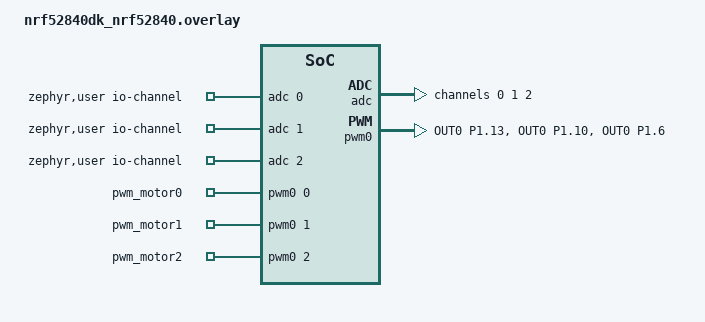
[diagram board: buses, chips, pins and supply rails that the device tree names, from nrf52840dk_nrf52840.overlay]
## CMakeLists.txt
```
cmake_minimum_required(VERSION 3.20.0)
find_package(Zephyr REQUIRED HINTS $ENV{ZEPHYR_BASE})

project(nrf)

target_sources(app PRIVATE 
        src/main.c
        src/motor.c
        src/motor.h
        src/sensor.c
        src/sensor.h
        src/adc.c
        src/adc.h
        src/PID.c
        src/PID.h
        )
```

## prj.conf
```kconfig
# GPIO
CONFIG_GPIO_NRFX=y  # Enable GPIO driver for Nordic platforms (if using an nRF SoC)

# PWM
CONFIG_PWM=y

# ADC
CONFIG_ADC=y
```

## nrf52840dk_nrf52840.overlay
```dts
// To get started, press Ctrl+Space to bring up the completion menu and view the available nodes.

// You can also use the buttons in the sidebar to perform actions on nodes.
// Actions currently available include:

// * Enabling / disabling the node
// * Adding the bus to a bus
// * Removing the node
// * Connecting ADC channels

// For more help, browse the DeviceTree documentation at https://docs.zephyrproject.org/latest/guides/dts/index.html
// You can also visit the nRF DeviceTree extension documentation at https://docs.nordicsemi.com/bundle/nrf-connect-vscode/page/guides/ncs_configure_app.html#devicetree-support-in-the-extension

/{

    zephyr,user {
        io-channels = <&adc 0>, <&adc 1>, <&adc 2>; 
    };

    aliases {
        pwm-motor0 = &pwm_motor0;
        pwm-motor1 = &pwm_motor1;
        pwm-motor2 = &pwm_motor2;

    };

    pwmmotors {
        compatible = "pwm-leds";
        pwm_motor0: pwm_motor_0 {
            pwms = <&pwm0 0 PWM_NSEC(10000) PWM_POLARITY_NORMAL>;
        };
        pwm_motor1: pwm_motor_1 {
            pwms = <&pwm0 1 PWM_NSEC(10000) PWM_POLARITY_NORMAL>;
        };

        pwm_motor2: pwm_motor_2 {
            pwms = <&pwm0 2 PWM_NSEC(10000) PWM_POLARITY_NORMAL>;
        };
    };
};

&adc {
    #address-cells = <1>;
    #size-cells = <0>;
    status = "okay";

    channel@0 {
        reg = <0>;
        zephyr,gain = "ADC_GAIN_1_2";
        zephyr,reference = "ADC_REF_INTERNAL";
        zephyr,acquisition-time = <ADC_ACQ_TIME_DEFAULT>;
        zephyr,input-positive = <NRF_SAADC_AIN0>; /* P0.02 */
        zephyr,resolution = <12>;
        zephyr,oversampling = <0>;
    };

    channel@1 {
        reg = <1>;
        zephyr,gain = "ADC_GAIN_1_2";
        zephyr,reference = "ADC_REF_INTERNAL";
        zephyr,acquisition-time = <ADC_ACQ_TIME_DEFAULT>;
        zephyr,input-positive = <NRF_SAADC_AIN1>; /* P0.03 */
        zephyr,resolution = <12>;
        zephyr,oversampling = <0>;
    };

    channel@2 {
        reg = <2>;
        zephyr,gain = "ADC_GAIN_1_2";
        zephyr,reference = "ADC_REF_INTERNAL";
        zephyr,acquisition-time = <ADC_ACQ_TIME_DEFAULT>;
        zephyr,input-positive = <NRF_SAADC_AIN2>; /* P0.28 */
        zephyr,resolution = <12>;
        zephyr,oversampling = <0>;
    };

};

/* STEP 1.3 - Add your own custom pwm0 instance */
&pwm0 {
    status = "okay";
    pinctrl-0 = <&pwm0_custom>;
    pinctrl-1 = <&pwm0_csleep>;
    pinctrl-names = "default", "sleep";
};

/* STEP 1.4 - Configure which pins your custom pwm0 instance should use */
&pinctrl {
    pwm0_custom: pwm0_custom {
        group1 {
            psels = <NRF_PSEL(PWM_OUT0, 1, 13)>,
                    <NRF_PSEL(PWM_OUT0, 1, 10)>,
                    <NRF_PSEL(PWM_OUT0, 1, 6)>;
        };
    };

    pwm0_csleep: pwm0_csleep {
        group1 {
            psels = <NRF_PSEL(PWM_OUT0, 1, 13)>,
                    <NRF_PSEL(PWM_OUT0, 1, 10)>,
                    <NRF_PSEL(PWM_OUT0, 1, 6)>;
            low-power-enable;
        };
    };
};
```

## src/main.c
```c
#include <zephyr/kernel.h>
#include <zephyr/device.h>
#include <zephyr/drivers/gpio.h>
#include <zephyr/drivers/pwm.h>
#include <zephyr/devicetree.h>

#include "motor.h"
#include "adc.h"

#define GPIO0_PORT DT_NODELABEL(gpio0)
#define GPIO1_PORT DT_NODELABEL(gpio1)

LOG_MODULE_REGISTER(Main, LOG_LEVEL_INF);

// struct pwm_dt_spec pwm_dt; 

const struct device *gpio0_dt; 
const struct device *gpio1_dt; 




int main(void)
{
        int err = 0; 

        //flags 
        extern bool adcFinished; 
        extern uint64_t last_time;

        gpio1_dt = DEVICE_DT_GET(GPIO1_PORT);
        if (gpio1_dt == NULL) {
                LOG_ERR("Failed to get GPIO device binding\n");
        } else {
                LOG_INF("GPIO device binding success\n");
        }

        int cp1_arr[] = {BUCKET_PIN1, ARM_PIN1, BOOM_PIN1};
        int cp2_arr[] = {BUCKET_PIN2, ARM_PIN2, BOOM_PIN2};

        motor_pwm_specs_t motors_pwm = initArmMotors(gpio1_dt,cp1_arr, cp2_arr,NUM_ARM_MOTORS);

        const struct device *adc_dev = DEVICE_DT_GET(DT_NODELABEL(adc));

        struct adc_dt_channels adc_channels;  
        err = initADCChannels(&adc_channels);
        if (err < 0) {
                LOG_ERR("Failed to initialize ADC channels");
        } else {
                LOG_INF("ADC channels successfully initialized");
        }

        struct adc_sequence_options opts = {
                .interval_us = 0,
                .callback = my_adc_sequence_callback,
                .user_data = NULL, 
                .extra_samplings = 0,
                
        };

        uint8_t adc_buf[ADC_BUFFER_SIZE] = {0};

        struct adc_sequence sequence = {
		.buffer = &adc_buf,
		.buffer_size = sizeof(adc_buf),
		//Optional
		//.calibrate = true, //turn on calibration after the bare minimum code is active
                .options = &opts,
                .channels = (1 << NUM_SENSORS) - 1,
                .resolution = 12,
	};

        err = adc_read(adc_dev, &sequence);
        if (err < 0) {
                LOG_ERR("Could not read (%d)", err);
                return -1; 
        }

        while(!adcFinished);
        LOG_INF("ADC INITALIZATION DONE\n"); 

        PID_timer_setup();




        return 0;
}
```

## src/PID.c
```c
#include "PID.h"

LOG_MODULE_REGISTER(PID, LOG_LEVEL_INF);

//Global Variables
uint64_t last_time;
uint64_t current_time; 

// Function to initialize the PID controller
void PID_Init(PIDController *pid, float Kp, float Ki, float Kd, float integral_min, float integral_max) {
    pid->Kp = Kp;
    pid->Ki = Ki;
    pid->Kd = Kd;
    pid->prev_error = 0;
    pid->integral = 0;
    pid->integral_min = integral_min;
    pid->integral_max = integral_max;
}

// PID control function
float PID_Compute(PIDController *pid, float setpoint, float measured_value, float dt) {
    // Calculate error
    float error = setpoint - measured_value;

    // Calculate the proportional term
    float proportional = pid->Kp * error;

    // Calculate the integral term with clamping (anti-windup)
    pid->integral += error * dt;
    
    // Apply integral clamping
    if (pid->integral > pid->integral_max) {
        pid->integral = pid->integral_max;
    } else if (pid->integral < pid->integral_min) {
        pid->integral = pid->integral_min;
    }
    
    float integral = pid->Ki * pid->integral;

    // Calculate the derivative term
    float derivative = (error - pid->prev_error) / dt;
    float derivative_term = pid->Kd * derivative;

    // Update previous error
    pid->prev_error = error;

    // Compute the final output
    float output = proportional + integral + derivative_term;

    return output;
}

// Setup function to initialize the uptime tracking
void PID_timer_setup(void) {
    // Initialize the last_time with the current system uptime
    last_time = k_uptime_get();
    LOG_INF("Timer initialized at %llu ms\n", last_time);
}

uint64_t get_elapsed_time(void) {
    uint64_t current_time = k_uptime_get();  // Get the current uptime
    uint64_t elapsed_time = current_time - last_time;  // Calculate the time difference
    last_time = current_time;  // Reset last_time to the current time for next interval
    return elapsed_time;
}
```

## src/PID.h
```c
/*
 * Copyright (c) 2018 Nordic Semiconductor ASA
 *
 * SPDX-License-Identifier: LicenseRef-Nordic-5-Clause
 */

#ifndef PID_H
#define PID_H

#ifdef __cplusplus
extern "C" {
#endif

//#includes

#include <zephyr/types.h>
#include <zephyr/kernel.h>
#include <zephyr/device.h> 
#include <zephyr/logging/log.h>
#include <zephyr/devicetree.h>


//#defines

//variables 
extern uint64_t last_time;

//Struct definitions
typedef struct {
    float Kp;  // Proportional gain
    float Ki;  // Integral gain
    float Kd;  // Derivative gain
    float prev_error;   // Error from the previous step
    float integral;     // Integral accumulator
    float integral_max; // Maximum limit for the integral term
    float integral_min; // Minimum limit for the integral term
} PIDController;

// Function prototypes
void PID_Init(PIDController *pid, float Kp, float Ki, float Kd, float integral_min, float integral_max);
float PID_Compute(PIDController *pid, float setpoint, float measured_value, float dt);\
void timer_setup(void);
uint64_t get_elapsed_time(void);


#ifdef __cplusplus
}
#endif

/**
 * @}
 */

#endif /* PID_H */
```

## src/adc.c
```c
#include "adc.h"

LOG_MODULE_REGISTER(ADC, LOG_LEVEL_INF);

//Global Variables

//flag definitions 
bool adcFinished = true; 

/**
 * @brief Initializes and sets up x ADC channels.
 * 
 * 
 * @return 0 on success, -1 if any ADC channel is not ready or setup fails.
 * 
 * @note The ADC channels are retrieved from the device tree under the `zephyr_user` path.
 * 
 * The function performs the following:
 * - Initializes the x ADC channel and checks if it is ready. Sets it up if ready.
 * - Logs an error message and returns `-1` if any of the checks fail.
 * - Logs a success message and returns `0` if all channels are successfully initialized and set up.
 */

int initADCChannels(struct adc_dt_channels *adc_channels){
    *adc_channels = (struct adc_dt_channels){
        .channel_0 = ADC_DT_SPEC_GET_BY_IDX(DT_PATH(zephyr_user), 0),
        .channel_1 = ADC_DT_SPEC_GET_BY_IDX(DT_PATH(zephyr_user), 1),
        .channel_2 = ADC_DT_SPEC_GET_BY_IDX(DT_PATH(zephyr_user), 2)
    };

    int err;

    // Check if the first ADC channel is ready and set it up
    if (!adc_is_ready_dt(&adc_channels->channel_0)) {
        LOG_ERR("ADC controller device %s not ready", adc_channels->channel_0.dev->name);
        return -1;  // Return an empty struct on error
    }
    err = adc_channel_setup_dt(&adc_channels->channel_0);
    if (err < 0) {
        LOG_ERR("Could not setup channel #%d (%d)", 0, err);
        return -1;  // Return an empty struct on error
    }

    // Check if the second ADC channel is ready and set it up
    if (!adc_is_ready_dt(&adc_channels->channel_1)) {
        LOG_ERR("ADC controller device %s not ready", adc_channels->channel_1.dev->name);
        return -1;  // Return an empty struct on error
    }
    err = adc_channel_setup_dt(&adc_channels->channel_1);
    if (err < 0) {
        LOG_ERR("Could not setup channel #%d (%d)", 1, err);
        return -1;  // Return an empty struct on error
    }

    // Check if the third ADC channel is ready and set it up
    if (!adc_is_ready_dt(&adc_channels->channel_2)) {
        LOG_ERR("ADC controller device %s not ready", adc_channels->channel_2.dev->name);
        return -1;  // Return an empty struct on error
    }
    err = adc_channel_setup_dt(&adc_channels->channel_2);
    if (err < 0) {
        LOG_ERR("Could not setup channel #%d (%d)", 2, err);
        return -1;  // Return an empty struct on error
    }

    LOG_INF("All ADC channels initialized and set up successfully");
    return 0;  // Return the initialized channels on success
};

/** @brief adc callback function after each sampling
 * 
 * 
 *  @param device ptr to the device bonding 
 *  @param sequence ptr to the sequence data structure 
 *  @param sampling_index what number of sample is done where this callback should be called
 *  
 *  @return the action the adc will take next of enum adc_actoin
*/

enum adc_action my_adc_sequence_callback(const struct device *dev, const struct adc_sequence *sequence, uint16_t sampling_index){
    //set the adc done flag 
    adcFinished = true; 

    return ADC_ACTION_FINISH;
    
};
```

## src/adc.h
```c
/*
 * Copyright (c) 2018 Nordic Semiconductor ASA
 *
 * SPDX-License-Identifier: LicenseRef-Nordic-5-Clause
 */

#ifndef ADC_H
#define ADC_H

#ifdef __cplusplus
extern "C" {
#endif

//#includes

#include <zephyr/types.h>
#include <zephyr/kernel.h>
#include <zephyr/device.h> 
#include <zephyr/logging/log.h>
#include <zephyr/drivers/gpio.h>
#include <zephyr/devicetree.h>
#include "sensor.h"
#include <zephyr/drivers/adc.h>


//#defines
#define NUM_ADC_CHANNELS (3)
#define ADC_BUFFER_SIZE (NUM_ADC_CHANNELS*2)

struct adc_dt_channels {
    struct adc_dt_spec channel_0;
    struct adc_dt_spec channel_1;
    struct adc_dt_spec channel_2;
};


// Grouping the motor pins for the excavator together 

//Struct definitions

//Variable Definitions
extern bool adcFinished;

// Function prototypes
int initADCChannels(struct adc_dt_channels *adc_channels);
enum adc_action my_adc_sequence_callback(const struct device *dev, const struct adc_sequence *sequence, uint16_t sampling_index);


#ifdef __cplusplus
}
#endif

/**
 * @}
 */

#endif /* ADC_H */
```

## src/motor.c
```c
#include "motor.h"

LOG_MODULE_REGISTER(Motor, LOG_LEVEL_INF);

//Global Variables
motor_pwm_specs_t motors;

/**
 * @brief enable the pins and outputs for one motor (two input pins and 1 pwm pin)
 * 
 * @param struct device *gpio_dt: struct holding gpio device tree information
 * @param struct pwm_dt_spec: struct holding pwm device tree config information
 * @param int control_pin1
 * @param int control_pin2
 * @param int pwm_pin
 * 
 * @return error if present
 */

static int motorSetup(struct device *gpio_dt, int control_pin1, int control_pin2){
    int err = 0;
    //initialize the gpio as needed 

    err = gpio_pin_configure(gpio_dt, control_pin1, GPIO_OUTPUT_LOW);
    if (err < 0) {
        printk("Error configuring control_pin1\n");
        return err;
    }

    err = gpio_pin_configure(gpio_dt, control_pin2, GPIO_OUTPUT_LOW);
    if (err < 0) {
        printk("Error configuring control_pin2\n");
        return err;
    }

    LOG_INF("Motor control pin setup completed successfully\n");
    return 0;

};

/**
 * @brief gets struct of motor pwm pins set to be used
 * 
 * @return motor_pwm_specs_t return of all of the amr movement motors
 */

static motor_pwm_specs_t init_pwm_motors(void)
{
    // Initialize the motors from DeviceTree using the correct method of initialization
    motor_pwm_specs_t motors = {
        .pwm_motor0 = PWM_DT_SPEC_GET(DT_ALIAS(pwm_motor0)),
        .pwm_motor1 = PWM_DT_SPEC_GET(DT_ALIAS(pwm_motor1)),
        .pwm_motor2 = PWM_DT_SPEC_GET(DT_ALIAS(pwm_motor2))
    };

    // Check if all PWM devices are ready
    if (!device_is_ready(motors.pwm_motor0.dev)) {
        LOG_ERR("PWM Motor 0 device is not ready");
    }
    if (!device_is_ready(motors.pwm_motor1.dev)) {
        LOG_ERR("PWM Motor 1 device is not ready");
    }
    if (!device_is_ready(motors.pwm_motor2.dev)) {
        LOG_ERR("PWM Motor 2 device is not ready");
    }

    LOG_INF("All PWM motors initialized and ready");

    // Return the structure containing the initialized PWM motors
    return motors;
};

/** @brief Single function to fully initialize all motor pins for the arm (control + pwm)
 *  
 *  @param struct device *gpio_dt: struct holding gpio device tree information for the control pins 
 *  @param int cp1_arr : Array holding control pin 1 for the motors to activiate 
 *  @param int cp2_arr : Arry holding control pin 2 for the motors to activate 
 *  @param int num_motors: number of motors to activate in this funciton
 *  
 *  @return motor_pwm_specs_t struct containing all of the motor dt specs  
 * 
 */

motor_pwm_specs_t initArmMotors(struct device *gpio_dt, int cp1_arr[], int cp2_arr[], int num_motors){

    for(int i = 0; i < num_motors; i++){
        motorSetup(gpio_dt, cp1_arr[i], cp2_arr[i]);
    }

    return init_pwm_motors();
};

/** @brief update pwm duty cycle of arm motors 
 * 
 *  @param motor_pwm_specs_t struct containing all of the arm motor dt specs
 *  @param bucket_duty_cycle
 *  @param arm_duty_cycle
 *  @param boom_duty_cycle
 * 
 *  @return error if present
 */

int updateArmDutyCycles(motor_pwm_specs_t *motors, int bucket_duty_cycle, int arm_duty_cycle, int boom_duty_cycle) {
    int err = 0;

    // Set PWM for bucket motor
    err = pwm_set_pulse_dt(&(motors->pwm_motor0), bucket_duty_cycle);
    if (err < 0) {
        LOG_ERR("Failed to set bucket motor PWM: %d", err);
        return err;  // Return error code if setting PWM failed
    }

    // Set PWM for arm motor
    err = pwm_set_pulse_dt(&(motors->pwm_motor1), arm_duty_cycle);
    if (err < 0) {
        LOG_ERR("Failed to set arm motor PWM: %d", err);
        return err;  // Return error code if setting PWM failed
    }

    // Set PWM for boom motor
    err = pwm_set_pulse_dt(&(motors->pwm_motor2), boom_duty_cycle);
    if (err < 0) {
        LOG_ERR("Failed to set boom motor PWM: %d", err);
        return err;  // Return error code if setting PWM failed
    }

    LOG_INF("Motor duty cycles updated successfully");

    return 0;  // Return 0 on success
}
```

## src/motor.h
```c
/*
 * Copyright (c) 2018 Nordic Semiconductor ASA
 *
 * SPDX-License-Identifier: LicenseRef-Nordic-5-Clause
 */

#ifndef MOTOR_H
#define MOTOR_H

#ifdef __cplusplus
extern "C" {
#endif

//#includes

#include <zephyr/types.h>
#include <zephyr/kernel.h>
#include <zephyr/device.h> 
#include <zephyr/logging/log.h>
#include <zephyr/drivers/gpio.h>
#include <zephyr/drivers/pwm.h>
#include <zephyr/devicetree.h>


//#defines

#define PWM_FREQEUNCY (100000)
#define PMW_PERIOD (10000) //ns

// Grouping the motor pins for the excavator together 
#define BUCKET_PIN1 (15)
#define BUCKET_PIN2 (14)
#define BUCKET_PWM (13)

#define ARM_PIN1 (12)
#define ARM_PIN2 (21)
#define ARM_PWM (10)

#define BOOM_PIN1 (8)
#define BOOM_PIN2 (7)
#define BOOM_PWM (6)

#define NUM_ARM_MOTORS (3)

#define PWM_PERIOD (10000)

//Struct definitions

// Define a typedef for the motor PWM specs structure
typedef struct {
    struct pwm_dt_spec pwm_motor0;
    struct pwm_dt_spec pwm_motor1;
    struct pwm_dt_spec pwm_motor2;
} motor_pwm_specs_t;  // This typedef allows us to use "motor_pwm_specs_t" instead of "struct motor_pwm_specs"

// Function prototypes

motor_pwm_specs_t initArmMotors(struct device *gpio_dt, int cp1_arr[], int cp2_arr[], int num_motors);
int updateArmDutyCycles(motor_pwm_specs_t *motors, int bucket_duty_cycle, int arm_duty_cycle, int boom_duty_cycle);


#ifdef __cplusplus
}
#endif

/**
 * @}
 */

#endif /* MOTOR_H */
```

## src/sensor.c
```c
#include "sensor.h"

LOG_MODULE_REGISTER(Sensor, LOG_LEVEL_INF);

//Global Variables

/** @brief Sets up a sensor pin for input 
 * 
 *  @param struct device gpio_dt: device tree spec for the gpio group used
 *  @param int sensor_pin
 * 
 *  @param Error if present
 * 
 */
static int sensorSetup(struct device *gpio_dt, int sensor_pin) {
    int err = 0;

    // Initialize the GPIO pin as input for the sensor
    err = gpio_pin_configure(gpio_dt, sensor_pin, GPIO_INPUT);
    if (err < 0) {
        printk("Error configuring sensor_pin\n");
        return err;
    }

    LOG_INF("Sensor pin setup completed successfully\n");
    return 0;
};

/**
 * @brief Initialize an array of sensor pins as input.
 *
 *
 * @param gpio_dt Pointer to the GPIO device structure.
 * @param sensor_pins Array of sensor pin numbers to be initialized as inputs.
 * @param num_pins Number of sensor pins in the array.
 *
 * @retval 0 If all sensor pins are configured successfully.
 * @retval -EINVAL If one of the sensor pin configurations fails.
 */

int sensorArraySetup(struct device *gpio_dt, int *sensor_pins, int num_pins) {
    int err = 0;

    // Loop through the array of sensor pins and initialize each one
    for (int i = 0; i < num_pins; i++) {
        err = sensorSetup(gpio_dt, sensor_pins[i]);
        if (err < 0) {
            LOG_ERR("Error configuring sensor pin %d\n", sensor_pins[i]);
            return err;
        }
    }

    LOG_INF("All sensor pins setup completed successfully\n");
    return 0;
}
```

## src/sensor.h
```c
/*
 * Copyright (c) 2018 Nordic Semiconductor ASA
 *
 * SPDX-License-Identifier: LicenseRef-Nordic-5-Clause
 */

#ifndef SENSOR_H
#define SENSOR_H

#ifdef __cplusplus
extern "C" {
#endif

//#includes

#include <zephyr/types.h>
#include <zephyr/kernel.h>
#include <zephyr/device.h> 
#include <zephyr/logging/log.h>
#include <zephyr/drivers/gpio.h>
#include <zephyr/devicetree.h>


//#defines

#define NUM_SENSORS (3)

//Struct definitions

// Function prototypes


#ifdef __cplusplus
}
#endif

/**
 * @}
 */

#endif /* SENSOR_H */
```
